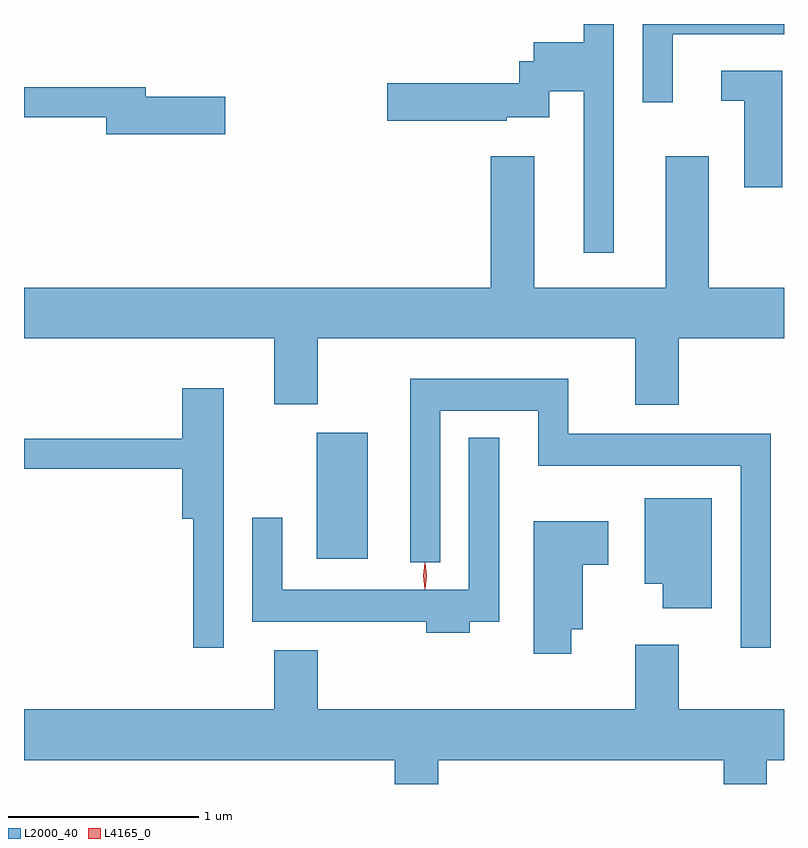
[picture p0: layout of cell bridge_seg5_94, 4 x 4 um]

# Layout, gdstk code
import gdstk
lib = gdstk.Library(unit=1e-6, precision=1e-09)
def R(c, l, rs):  # rectangles x0, y0, x1, y1
    for r in rs: c.add(gdstk.rectangle(r[:2], r[2:], *l))
def P(c, l, *ps):  # polygons
    for p in ps: c.add(gdstk.Polygon(p, *l))
L2000_40 = (2000, 40)
L4165_0 = (4165, 0)

bridge_seg5_94 = lib.new_cell('bridge_seg5_94')
R(bridge_seg5_94, L2000_40, [(1226.476,1482.276,1226.744,1482.939)])
P(bridge_seg5_94, L2000_40, [(1228.039,1485.091),(1227.881,1485.091),(1227.881,1484.994),(1227.616,1484.994),(1227.616,1484.894),(1227.541,1484.894),(1227.541,1484.779),(1226.846,1484.779),(1226.846,1484.581),(1227.474,1484.581),(1227.474,1484.601),(1227.699,1484.601),(1227.699,1484.736),(1227.881,1484.736),(1227.881,1483.888),(1228.039,1483.888)],
  [(1228.349,1485.036),(1228.934,1485.036),(1228.934,1485.091),(1228.191,1485.091),(1228.191,1484.678),(1228.349,1484.678)],
  [(1228.924,1484.844),(1228.603,1484.844),(1228.603,1484.686),(1228.726,1484.686),(1228.726,1484.231),(1228.924,1484.231)],
  [(1225.994,1484.709),(1225.574,1484.709),(1225.574,1484.759),(1224.934,1484.759),(1224.934,1484.601),(1225.366,1484.601),(1225.366,1484.511),(1225.994,1484.511)],
  [(1228.379,1483.436),(1228.934,1483.436),(1228.934,1483.704),(1228.539,1483.704),(1228.539,1484.394),(1228.311,1484.394),(1228.311,1483.704),(1227.619,1483.704),(1227.619,1484.394),(1227.391,1484.394),(1227.391,1483.704),(1224.934,1483.704),(1224.934,1483.436),(1226.251,1483.436),(1226.251,1483.091),(1226.479,1483.091),(1226.479,1483.436),(1228.151,1483.436),(1228.151,1483.086),(1228.379,1483.086)],
  [(1228.864,1482.934),(1227.799,1482.934),(1227.799,1483.224),(1226.966,1483.224),(1226.966,1482.258),(1227.124,1482.258),(1227.124,1483.056),(1227.641,1483.056),(1227.641,1482.766),(1228.706,1482.766),(1228.706,1481.808),(1228.864,1481.808)],
  [(1225.984,1483.174),(1225.766,1483.174),(1225.766,1482.909),(1224.934,1482.909),(1224.934,1482.751),(1225.766,1482.751),(1225.766,1482.486),(1225.826,1482.486),(1225.826,1481.808),(1225.984,1481.808)],
  [(1227.279,1481.946),(1227.434,1481.946),(1227.434,1482.913),(1227.276,1482.913),(1227.276,1482.114),(1226.294,1482.114),(1226.294,1482.493),(1226.136,1482.493),(1226.136,1481.946),(1227.051,1481.946),(1227.051,1481.886),(1227.279,1481.886)],
  [(1228.554,1482.594),(1228.201,1482.594),(1228.201,1482.146),(1228.296,1482.146),(1228.296,1482.016),(1228.554,1482.016)],
  [(1227.814,1481.906),(1227.874,1481.906),(1227.874,1482.246),(1228.009,1482.246),(1228.009,1482.474),(1227.616,1482.474),(1227.616,1481.776),(1227.814,1481.776)],
  [(1227.114,1481.216),(1228.616,1481.216),(1228.616,1481.091),(1228.844,1481.091),(1228.844,1481.216),(1228.934,1481.216),(1228.934,1481.484),(1228.379,1481.484),(1228.379,1481.824),(1228.151,1481.824),(1228.151,1481.484),(1226.479,1481.484),(1226.479,1481.794),(1226.251,1481.794),(1226.251,1481.484),(1224.934,1481.484),(1224.934,1481.216),(1226.886,1481.216),(1226.886,1481.091),(1227.114,1481.091)])
P(bridge_seg5_94, L4165_0, [(1227.045,1482.119),(1227.044,1482.12),(1227.035,1482.186),(1227.044,1482.252),(1227.045,1482.253),(1227.045,1482.252),(1227.055,1482.186),(1227.045,1482.12)],
  [(1227.044,1482.117),(1227.035,1482.186),(1227.044,1482.256),(1227.045,1482.256),(1227.045,1482.256),(1227.055,1482.186),(1227.045,1482.117),(1227.045,1482.117)])

lib.write_gds('bridge_seg5_94.gds')
